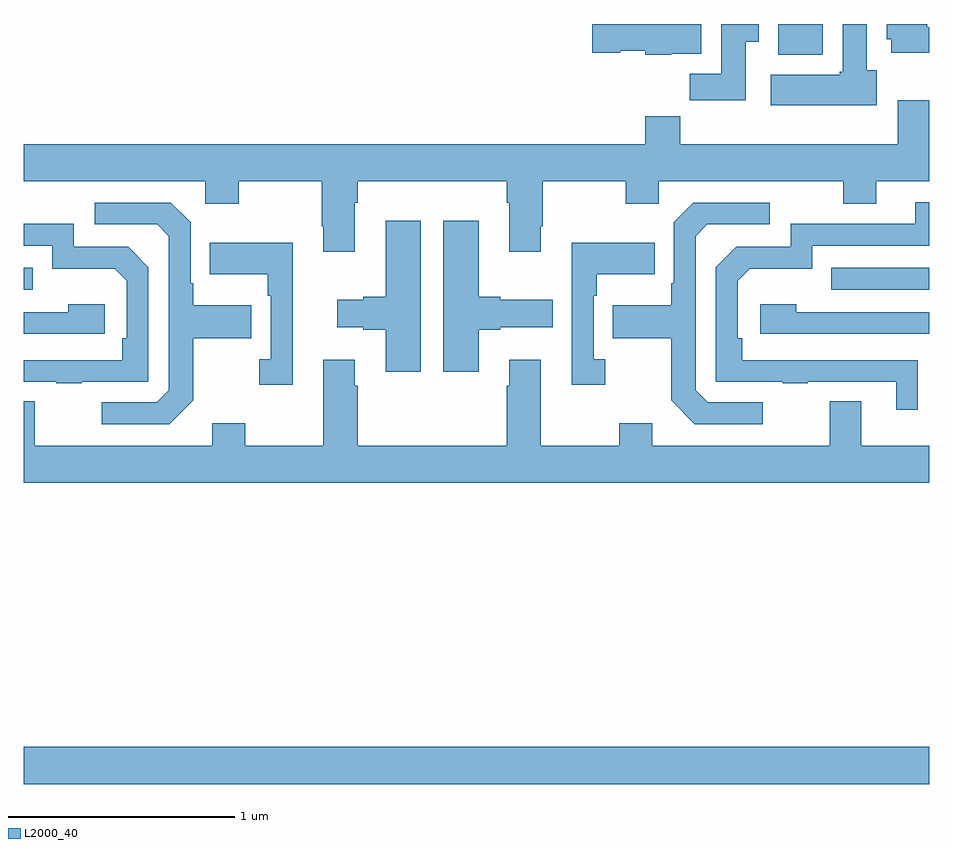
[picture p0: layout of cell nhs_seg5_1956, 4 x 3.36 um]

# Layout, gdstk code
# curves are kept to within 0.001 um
import gdstk
lib = gdstk.Library(unit=1e-6, precision=1e-09)
def R(c, l, rs):  # rectangles x0, y0, x1, y1
    for r in rs: c.add(gdstk.rectangle(r[:2], r[2:], *l))
def P(c, l, *ps):  # polygons
    for p in ps: c.add(gdstk.Polygon(p, *l))
L2000_40 = (2000, 40)

nhs_seg5_1956 = lib.new_cell('nhs_seg5_1956')
R(nhs_seg5_1956, L2000_40, [(227,843.44,231,843.604), (227,845.625,227.039,845.721), (230.569,845.625,231,845.721), (230.333,846.662,230.53,846.799)])
P(nhs_seg5_1956, L2000_40, [(231,846.784),(230.992,846.784),(230.992,846.799),(230.813,846.799),(230.813,846.732),(230.834,846.732),(230.834,846.672),(231,846.672)],
  [(229.86,846.668),(229.993,846.668),(229.993,846.799),(229.512,846.799),(229.512,846.673),(229.635,846.673),(229.635,846.68),(229.746,846.68),(229.746,846.662),(229.86,846.662)],
  [(230.191,846.721),(230.248,846.721),(230.248,846.799),(230.081,846.799),(230.081,846.58),(229.942,846.58),(229.942,846.462),(230.191,846.462)],
  [(230.77,846.594),(230.725,846.594),(230.725,846.799),(230.618,846.799),(230.618,846.588),(230.605,846.588),(230.605,846.574),(230.301,846.574),(230.301,846.44),(230.77,846.44)],
  [(228.463,846.008),(228.476,846.008),(228.476,846.104),(229.133,846.104),(229.133,846.008),(229.145,846.008),(229.145,845.793),(229.285,845.793),(229.285,845.905),(229.293,845.905),(229.293,846.104),(229.66,846.104),(229.66,846.005),(229.806,846.005),(229.806,846.104),(230.62,846.104),(230.62,846.005),(230.767,846.005),(230.767,846.104),(231,846.104),(231,846.463),(230.861,846.463),(230.861,846.268),(229.901,846.268),(229.901,846.392),(229.745,846.392),(229.745,846.268),(227,846.268),(227,846.104),(227.802,846.104),(227.802,846.005),(227.949,846.005),(227.949,846.104),(228.316,846.104),(228.316,845.905),(228.323,845.905),(228.323,845.793),(228.463,845.793)],
  [(230.951,845.312),(230.174,845.313),(230.174,845.41),(230.154,845.41),(230.154,845.664),(230.207,845.717),(230.484,845.717),(230.484,845.82),(231,845.82),(231,846.012),(230.939,846.012),(230.939,845.916),(230.388,845.916),(230.388,845.814),(230.148,845.814),(230.058,845.724),(230.058,845.217),(230.353,845.217),(230.353,845.212),(230.465,845.212),(230.465,845.217),(230.855,845.217),(230.855,845.094),(230.951,845.094)],
  [(230.266,845.127),(230.022,845.127),(229.968,845.181),(229.968,845.862),(230.019,845.913),(230.296,845.913),(230.296,846.009),(229.959,846.009),(229.872,845.922),(229.872,845.653),(229.86,845.653),(229.86,845.557),(229.603,845.557),(229.603,845.41),(229.86,845.41),(229.86,845.137),(229.965,845.031),(230.266,845.031)],
  [(227.749,845.137),(227.749,845.41),(228.005,845.41),(228.005,845.557),(227.749,845.557),(227.749,845.653),(227.736,845.653),(227.736,845.922),(227.649,846.009),(227.313,846.009),(227.313,845.913),(227.589,845.913),(227.64,845.862),(227.64,845.181),(227.586,845.127),(227.343,845.127),(227.343,845.031),(227.643,845.031)],
  [(229.009,845.447),(229.105,845.447),(229.105,845.459),(229.336,845.459),(229.336,845.581),(229.105,845.581),(229.105,845.594),(229.009,845.594),(229.009,845.929),(228.854,845.929),(228.854,845.262),(229.009,845.262)],
  [(228.754,845.929),(228.599,845.929),(228.599,845.594),(228.5,845.594),(228.5,845.581),(228.384,845.581),(228.384,845.459),(228.5,845.459),(228.5,845.447),(228.599,845.447),(228.599,845.262),(228.754,845.262)],
  [(227.255,845.217),(227.55,845.217),(227.55,845.724),(227.46,845.814),(227.22,845.814),(227.22,845.916),(227,845.916),(227,845.82),(227.124,845.82),(227.124,845.717),(227.401,845.717),(227.454,845.664),(227.454,845.41),(227.434,845.41),(227.434,845.313),(227,845.313),(227,845.217),(227.143,845.217),(227.143,845.212),(227.255,845.212)],
  [(228.188,845.833),(227.821,845.833),(227.821,845.693),(228.078,845.693),(228.078,845.597),(228.09,845.597),(228.09,845.318),(228.039,845.318),(228.039,845.205),(228.188,845.205)],
  [(229.57,845.318),(229.518,845.318),(229.518,845.597),(229.531,845.597),(229.531,845.693),(229.787,845.693),(229.787,845.833),(229.422,845.833),(229.422,845.205),(229.57,845.205)],
  [(227.356,845.56),(227.195,845.56),(227.195,845.526),(227,845.526),(227,845.43),(227.356,845.43)],
  [(231,845.526),(230.414,845.526),(230.414,845.56),(230.253,845.56),(230.253,845.43),(231,845.43)],
  [(231,844.936),(230.701,844.936),(230.701,845.131),(230.561,845.131),(230.561,844.936),(229.777,844.936),(229.777,845.035),(229.63,845.035),(229.63,844.936),(229.285,844.936),(229.285,845.314),(229.145,845.314),(229.145,845.201),(229.133,845.201),(229.133,844.936),(228.476,844.936),(228.476,845.201),(228.463,845.201),(228.463,845.314),(228.323,845.314),(228.323,844.936),(227.979,844.936),(227.979,845.035),(227.831,845.035),(227.831,844.936),(227.047,844.936),(227.047,845.131),(227,845.131),(227,844.772),(231,844.772)])

lib.write_gds('nhs_seg5_1956.gds')
